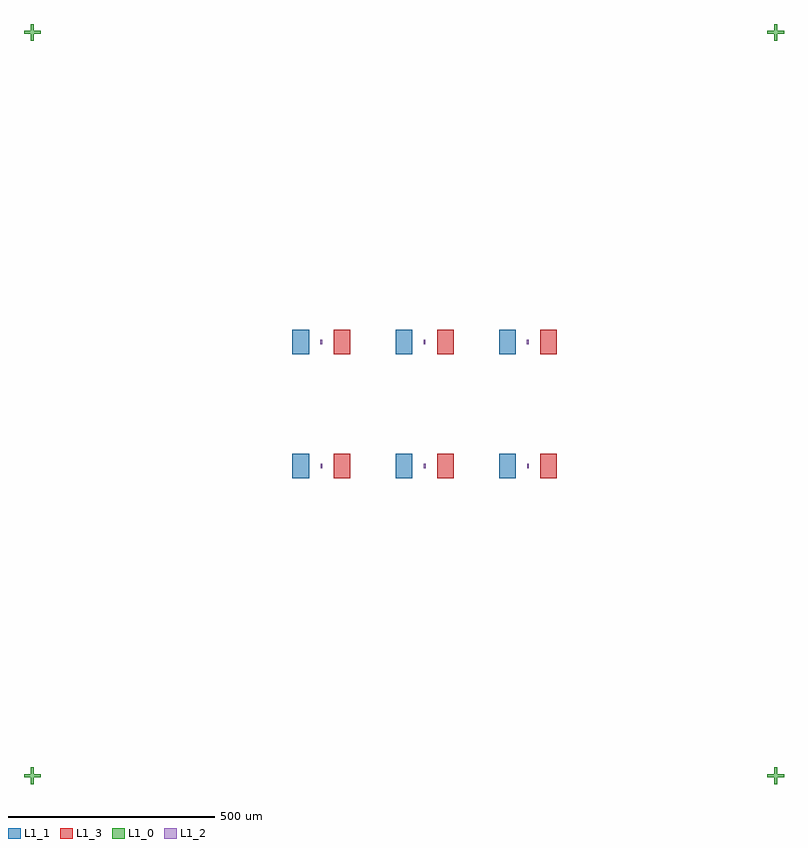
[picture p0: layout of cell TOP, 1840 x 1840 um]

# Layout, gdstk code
import gdstk
lib = gdstk.Library(unit=1e-6, precision=1e-09)
def R(c, l, rs):  # rectangles x0, y0, x1, y1
    for r in rs: c.add(gdstk.rectangle(r[:2], r[2:], *l))
def A(c, l, x, y, w, h, nx, ny, dx, dy):  # array of equal rectangles
    R(c, l, [(x+i*dx, y+j*dy, x+i*dx+w, y+j*dy+h) for i in range(nx) for j in range(ny)])
def P(c, l, *ps):  # polygons
    for p in ps: c.add(gdstk.Polygon(p, *l))
L1_0 = (1, 0)
L1_1 = (1, 1)
L1_2 = (1, 2)
L1_3 = (1, 3)

top = lib.new_cell('TOP')
P(top, L1_0, [(96,120),(104,120),(104,104),(120,104),(120,96),(104,96),(104,80),(96,80),(96,96),(80,96),(80,104),(96,104)],
  [(1896,120),(1904,120),(1904,104),(1920,104),(1920,96),(1904,96),(1904,80),(1896,80),(1896,96),(1880,96),(1880,104),(1896,104)],
  [(96,1920),(104,1920),(104,1904),(120,1904),(120,1896),(104,1896),(104,1880),(96,1880),(96,1896),(80,1896),(80,1904),(96,1904)],
  [(1896,1920),(1904,1920),(1904,1904),(1920,1904),(1920,1896),(1904,1896),(1904,1880),(1896,1880),(1896,1896),(1880,1896),(1880,1904),(1896,1904)])
A(top, L1_1, 730, 820, 40, 60, 3, 2, 250, 300)
R(top, L1_2, [(798,845,802,855), (1047.5,845,1052.5,855), (1298,845,1302,855), (797.5,1145,802.5,1155), (1048,1145,1052,1155), (1297.5,1145,1302.5,1155)])
A(top, L1_3, 830, 820, 40, 60, 3, 2, 250, 300)

lib.write_gds('TOP.gds')
